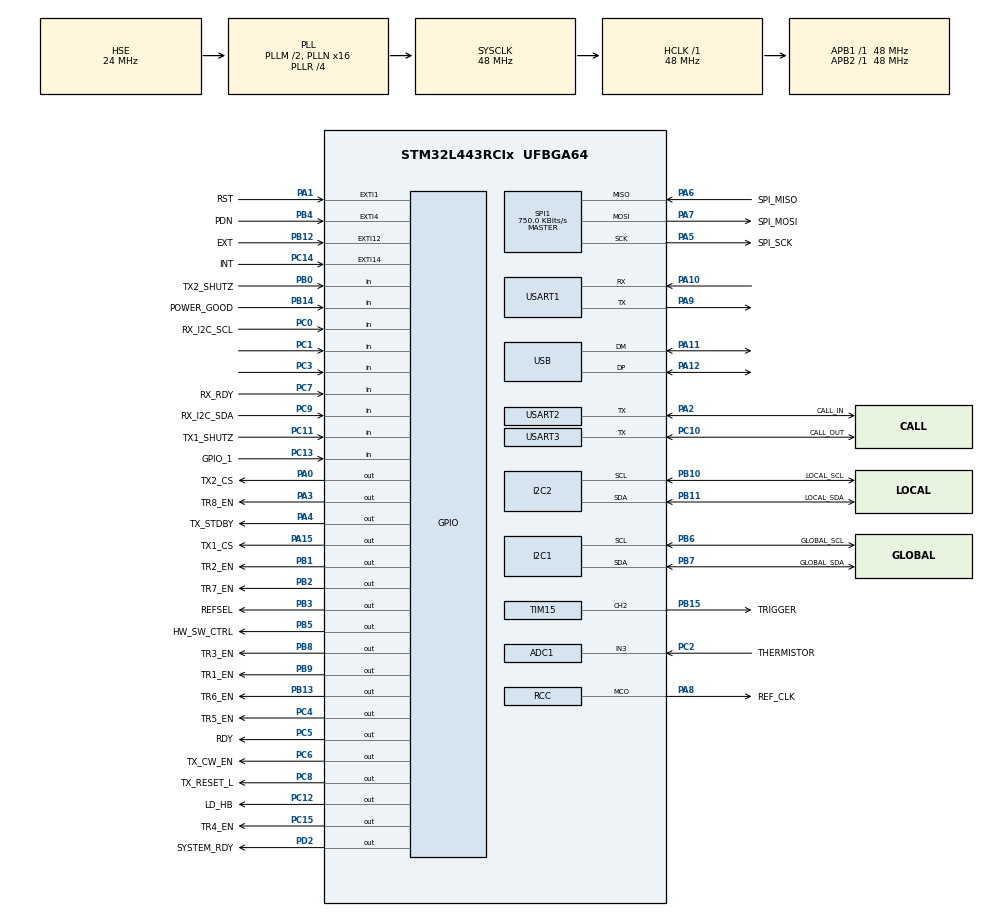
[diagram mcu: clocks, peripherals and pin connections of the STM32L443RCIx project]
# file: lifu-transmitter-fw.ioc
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ADC1.Channel-0\#ChannelRegularConversion=ADC_CHANNEL_3
ADC1.ClockPrescaler=ADC_CLOCK_ASYNC_DIV4
ADC1.ContinuousConvMode=ENABLE
ADC1.EnableAnalogWatchDog2=false
ADC1.LowPowerAutoWait=ENABLE
ADC1.NbrOfConversion=1
ADC1.NbrOfConversionFlag=1
ADC1.OffsetNumber-0\#ChannelRegularConversion=ADC_OFFSET_NONE
ADC1.Overrun=ADC_OVR_DATA_OVERWRITTEN
ADC1.OversamplingMode=DISABLE
ADC1.Rank-0\#ChannelRegularConversion=1
ADC1.SamplingTime-0\#ChannelRegularConversion=ADC_SAMPLETIME_47CYCLES_5
ADC1.master=1
Dma.Request0=USART2_RX
Dma.Request1=USART2_TX
Dma.Request2=USART3_RX
Dma.Request3=USART3_TX
Dma.Request4=USART1_RX
Dma.Request5=USART1_TX
Dma.USART1_RX.4.Direction=DMA_PERIPH_TO_MEMORY
Dma.USART1_RX.4.Instance=DMA1_Channel5
Dma.USART1_RX.4.MemDataAlignment=DMA_MDATAALIGN_BYTE
Dma.USART1_RX.4.MemInc=DMA_MINC_ENABLE
Dma.USART1_RX.4.Mode=DMA_NORMAL
Dma.USART1_RX.4.PeriphDataAlignment=DMA_PDATAALIGN_BYTE
Dma.USART1_RX.4.PeriphInc=DMA_PINC_DISABLE
Dma.USART1_RX.4.Priority=DMA_PRIORITY_LOW
Dma.USART1_TX.5.Direction=DMA_MEMORY_TO_PERIPH
Dma.USART1_TX.5.Instance=DMA1_Channel4
Dma.USART1_TX.5.MemDataAlignment=DMA_MDATAALIGN_BYTE
Dma.USART1_TX.5.MemInc=DMA_MINC_ENABLE
Dma.USART1_TX.5.Mode=DMA_NORMAL
Dma.USART1_TX.5.PeriphDataAlignment=DMA_PDATAALIGN_BYTE
Dma.USART1_TX.5.PeriphInc=DMA_PINC_DISABLE
Dma.USART1_TX.5.Priority=DMA_PRIORITY_LOW
Dma.USART2_RX.0.Direction=DMA_PERIPH_TO_MEMORY
Dma.USART2_RX.0.Instance=DMA1_Channel6
Dma.USART2_RX.0.MemDataAlignment=DMA_MDATAALIGN_BYTE
Dma.USART2_RX.0.MemInc=DMA_MINC_ENABLE
Dma.USART2_RX.0.Mode=DMA_NORMAL
Dma.USART2_RX.0.PeriphDataAlignment=DMA_PDATAALIGN_BYTE
Dma.USART2_RX.0.PeriphInc=DMA_PINC_DISABLE
Dma.USART2_RX.0.Priority=DMA_PRIORITY_LOW
Dma.USART2_TX.1.Direction=DMA_MEMORY_TO_PERIPH
Dma.USART2_TX.1.Instance=DMA1_Channel7
Dma.USART2_TX.1.MemDataAlignment=DMA_MDATAALIGN_BYTE
Dma.USART2_TX.1.MemInc=DMA_MINC_ENABLE
Dma.USART2_TX.1.Mode=DMA_NORMAL
Dma.USART2_TX.1.PeriphDataAlignment=DMA_PDATAALIGN_BYTE
Dma.USART2_TX.1.PeriphInc=DMA_PINC_DISABLE
Dma.USART2_TX.1.Priority=DMA_PRIORITY_LOW
Dma.USART3_RX.2.Direction=DMA_PERIPH_TO_MEMORY
Dma.USART3_RX.2.Instance=DMA1_Channel3
Dma.USART3_RX.2.MemDataAlignment=DMA_MDATAALIGN_BYTE
Dma.USART3_RX.2.MemInc=DMA_MINC_ENABLE
Dma.USART3_RX.2.Mode=DMA_NORMAL
Dma.USART3_RX.2.PeriphDataAlignment=DMA_PDATAALIGN_BYTE
Dma.USART3_RX.2.PeriphInc=DMA_PINC_DISABLE
Dma.USART3_RX.2.Priority=DMA_PRIORITY_LOW
Dma.USART3_TX.3.Direction=DMA_MEMORY_TO_PERIPH
Dma.USART3_TX.3.Instance=DMA1_Channel2
Dma.USART3_TX.3.MemDataAlignment=DMA_MDATAALIGN_BYTE
Dma.USART3_TX.3.MemInc=DMA_MINC_ENABLE
Dma.USART3_TX.3.Mode=DMA_NORMAL
Dma.USART3_TX.3.PeriphDataAlignment=DMA_PDATAALIGN_BYTE
Dma.USART3_TX.3.PeriphInc=DMA_PINC_DISABLE
Dma.USART3_TX.3.Priority=DMA_PRIORITY_LOW
I2C1.Timing=0x10805D88
I2C2.Timing=0x10805D88
IWDG.Prescaler=IWDG_PRESCALER_32
LPTIM1.ClockPrescaler=LPTIM_PRESCALER_DIV16
Mcu.Family=STM32L4
Mcu.Name=STM32L443RCIx
Mcu.Package=UFBGA64
NVIC.ADC1_IRQn=true\:0\:0\:false\:false\:true\:true\:true\:true
NVIC.DMA1_Channel2_IRQn=true\:0\:0\:false\:false\:true\:false\:true\:true
NVIC.DMA1_Channel3_IRQn=true\:0\:0\:false\:false\:true\:false\:true\:true
NVIC.DMA1_Channel4_IRQn=true\:0\:0\:false\:false\:true\:false\:true\:true
NVIC.DMA1_Channel5_IRQn=true\:0\:0\:false\:false\:true\:false\:true\:true
NVIC.DMA1_Channel6_IRQn=true\:0\:0\:false\:false\:true\:false\:true\:true
NVIC.DMA1_Channel7_IRQn=true\:0\:0\:false\:false\:true\:false\:true\:true
NVIC.I2C1_ER_IRQn=true\:0\:0\:false\:false\:true\:true\:true\:true
NVIC.I2C1_EV_IRQn=true\:0\:0\:false\:false\:true\:true\:true\:true
NVIC.I2C2_ER_IRQn=true\:0\:0\:false\:false\:true\:true\:true\:true
NVIC.I2C2_EV_IRQn=true\:0\:0\:false\:false\:true\:true\:true\:true
NVIC.LPTIM1_IRQn=true\:0\:0\:false\:false\:true\:true\:true\:true
NVIC.PriorityGroup=NVIC_PRIORITYGROUP_4
NVIC.SPI1_IRQn=true\:0\:0\:false\:false\:true\:true\:true\:true
NVIC.TIM1_BRK_TIM15_IRQn=true\:3\:0\:true\:false\:true\:true\:true\:true
NVIC.TIM1_CC_IRQn=true\:3\:0\:true\:false\:true\:true\:true\:true
NVIC.TIM1_TRG_COM_IRQn=true\:3\:0\:true\:false\:true\:true\:true\:true
NVIC.TIM1_UP_TIM16_IRQn=true\:3\:0\:true\:false\:true\:false\:true\:true
NVIC.TIM2_IRQn=true\:3\:0\:true\:false\:true\:true\:true\:true
NVIC.TIM6_DAC_IRQn=true\:15\:0\:false\:false\:true\:true\:true\:true
NVIC.TIM7_IRQn=true\:0\:0\:false\:false\:true\:true\:true\:true
NVIC.TimeBase=TIM6_DAC_IRQn
NVIC.TimeBaseIP=TIM6
NVIC.USART1_IRQn=true\:0\:0\:false\:false\:true\:true\:true\:true
NVIC.USART2_IRQn=true\:0\:0\:false\:false\:true\:true\:true\:true
NVIC.USART3_IRQn=true\:0\:0\:false\:false\:true\:true\:true\:true
NVIC.USB_IRQn=true\:0\:0\:false\:false\:true\:true\:true\:true
PA0.GPIO_Label=TX2_CS
PA0.Signal=GPIO_Output
PA1.GPIO_Label=RST
PA1.Signal=GPXTI1
PA10.Mode=Asynchronous
PA10.Signal=USART1_RX
PA11.Mode=Device
PA11.Signal=USB_DM
PA12.Mode=Device
PA12.Signal=USB_DP
PA13\ (JTMS-SWDIO).Mode=Serial_Wire
PA13\ (JTMS-SWDIO).Signal=SYS_JTMS-SWDIO
PA14\ (JTCK-SWCLK).Mode=Serial_Wire
PA14\ (JTCK-SWCLK).Signal=SYS_JTCK-SWCLK
PA15\ (JTDI).GPIO_Label=TX1_CS
PA15\ (JTDI).Signal=GPIO_Output
PA2.GPIO_Label=CALL_IN
PA2.Mode=Half_duplex(single_wire_mode)
PA2.Signal=USART2_TX
PA3.GPIO_Label=TR8_EN
PA3.Signal=GPIO_Output
PA4.GPIO_Label=TX_STDBY
PA4.Signal=GPIO_Output
PA5.GPIO_Label=SPI_SCK
PA5.Mode=Full_Duplex_Master
PA5.Signal=SPI1_SCK
PA6.GPIO_Label=SPI_MISO
PA6.Mode=Full_Duplex_Master
PA6.Signal=SPI1_MISO
PA7.GPIO_Label=SPI_MOSI
PA7.Mode=Full_Duplex_Master
PA7.Signal=SPI1_MOSI
PA8.GPIO_Label=REF_CLK
PA8.GPIO_Speed=GPIO_SPEED_FREQ_VERY_HIGH
PA8.Mode=Clock-out
PA8.Signal=RCC_MCO
PA9.Mode=Asynchronous
PA9.Signal=USART1_TX
PB0.GPIO_Label=TX2_SHUTZ
PB0.Signal=GPIO_Input
PB1.GPIO_Label=TR2_EN
PB1.Signal=GPIO_Output
PB10.GPIO_Label=LOCAL_SCL
PB10.Mode=I2C
PB10.Signal=I2C2_SCL
PB11.GPIO_Label=LOCAL_SDA
PB11.Mode=I2C
PB11.Signal=I2C2_SDA
PB12.GPIO_Label=EXT
PB12.Signal=GPXTI12
PB13.GPIO_Label=TR6_EN
PB13.Signal=GPIO_Output
PB14.GPIO_Label=POWER_GOOD
PB14.Signal=GPIO_Input
PB15.GPIO_Label=TRIGGER
PB15.GPIO_Speed=GPIO_SPEED_FREQ_HIGH
PB15.Signal=S_TIM15_CH2
PB2.GPIO_Label=TR7_EN
PB2.Signal=GPIO_Output
PB3\ (JTDO-TRACESWO).GPIO_Label=REFSEL
PB3\ (JTDO-TRACESWO).Signal=GPIO_Output
PB4\ (NJTRST).GPIO_Label=PDN
PB4\ (NJTRST).Signal=GPXTI4
PB5.GPIO_Label=HW_SW_CTRL
PB5.Signal=GPIO_Output
PB6.GPIO_Label=GLOBAL_SCL
PB6.Mode=I2C
PB6.Signal=I2C1_SCL
PB7.GPIO_Label=GLOBAL_SDA
PB7.Mode=I2C
PB7.Signal=I2C1_SDA
PB8.GPIO_Label=TR3_EN
PB8.Signal=GPIO_Output
PB9.GPIO_Label=TR1_EN
PB9.Signal=GPIO_Output
PC0.GPIO_Label=RX_I2C_SCL
PC0.Signal=GPIO_Input
PC1.Signal=GPIO_Input
PC10.GPIO_Label=CALL_OUT
PC10.Mode=Half_duplex(single_wire_mode)
PC10.Signal=USART3_TX
PC11.GPIO_Label=TX1_SHUTZ
PC11.Signal=GPIO_Input
PC12.GPIO_Label=LD_HB
PC12.Signal=GPIO_Output
PC13.GPIO_Label=GPIO_1
PC13.Signal=GPIO_Input
PC14-OSC32_IN\ (PC14).GPIO_Label=INT
PC14-OSC32_IN\ (PC14).Signal=GPXTI14
PC15-OSC32_OUT\ (PC15).GPIO_Label=TR4_EN
PC15-OSC32_OUT\ (PC15).Signal=GPIO_Output
PC2.GPIO_Label=THERMISTOR
PC2.Signal=ADCx_IN3
PC3.Signal=GPIO_Input
PC4.GPIO_Label=TR5_EN
PC4.Signal=GPIO_Output
PC5.GPIO_Label=RDY
PC5.Signal=GPIO_Output
PC6.GPIO_Label=TX_CW_EN
PC6.Signal=GPIO_Output
PC7.GPIO_Label=RX_RDY
PC7.Signal=GPIO_Input
PC8.GPIO_Label=TX_RESET_L
PC8.Signal=GPIO_Output
PC9.GPIO_Label=RX_I2C_SDA
PC9.Signal=GPIO_Input
PD2.GPIO_Label=SYSTEM_RDY
PD2.Signal=GPIO_Output
PH0-OSC_IN\ (PH0).Mode=HSE-External-Oscillator
PH0-OSC_IN\ (PH0).Signal=RCC_OSC_IN
PH1-OSC_OUT\ (PH1).Mode=HSE-External-Oscillator
PH1-OSC_OUT\ (PH1).Signal=RCC_OSC_OUT
ProjectManager.HeapSize=0x200
ProjectManager.StackSize=0x400
ProjectManager.TargetToolchain=CMake
RCC.ADCFreq_Value=48000000
RCC.AHBFreq_Value=48000000
RCC.APB1Freq_Value=48000000
RCC.APB1TimFreq_Value=48000000
RCC.APB2Freq_Value=48000000
RCC.APB2TimFreq_Value=48000000
RCC.CK48CLockSelection=RCC_USBCLKSOURCE_HSI48
RCC.CortexFreq_Value=48000000
RCC.HCLKFreq_Value=48000000
RCC.HSE_VALUE=24000000
RCC.HSI48_VALUE=48000000
RCC.HSI_VALUE=16000000
RCC.LSE_VALUE=32768
RCC.MSI_VALUE=4000000
RCC.PLLM=2
RCC.PLLN=16
RCC.PLLQ=RCC_PLLQ_DIV4
RCC.PLLR=RCC_PLLR_DIV4
RCC.PLLSourceVirtual=RCC_PLLSOURCE_HSE
RCC.RCC_MCO1Source=RCC_MCO1SOURCE_MSI
RCC.RCC_MCODiv=RCC_MCODIV_2
RCC.SYSCLKFreq_VALUE=48000000
RCC.SYSCLKSource=RCC_SYSCLKSOURCE_PLLCLK
RCC.USBFreq_Value=48000000
RCC.VCOOutputFreq_Value=192000000
SH.ADCx_IN3.0=ADC1_IN3,IN3-Single-Ended
SH.S_TIM15_CH2.0=TIM15_CH2,PWM Generation2 CH2
SPI1.BaudRatePrescaler=SPI_BAUDRATEPRESCALER_64
SPI1.CalculateBaudRate=750.0 KBits/s
SPI1.DataSize=SPI_DATASIZE_8BIT
SPI1.Direction=SPI_DIRECTION_2LINES
SPI1.Mode=SPI_MODE_MASTER
SPI1.VirtualType=VM_MASTER
TIM1.AutoReloadPreload=TIM_AUTORELOAD_PRELOAD_ENABLE
TIM1.Channel-PWM\ Generation1\ CH1=TIM_CHANNEL_1
TIM1.Period=1000-1
TIM1.Prescaler=48-1
TIM1.Pulse-PWM\ Generation1\ CH1=12
TIM1.TIM_MasterOutputTrigger=TIM_TRGO_UPDATE
TIM1.TIM_MasterOutputTrigger2=TIM_TRGO2_UPDATE
TIM1.TIM_MasterSlaveMode=TIM_MASTERSLAVEMODE_ENABLE
TIM15.Channel-PWM\ Generation2\ CH2=TIM_CHANNEL_2
TIM15.OCPolarity_2=TIM_OCPOLARITY_LOW
TIM15.Period=1000-1
TIM15.Prescaler=48-1
TIM15.Pulse-PWM\ Generation2\ CH2=1000
TIM16.Period=5000-1
TIM16.Prescaler=4800-1
TIM2.Period=1000-1
TIM2.Prescaler=48-1
TIM7.Period=1000-1
TIM7.Prescaler=4800-1
USART1.VirtualMode-Asynchronous=VM_ASYNC
USART2.VirtualMode-Half_duplex(single_wire_mode)=VM_ASYNC
USART3.VirtualMode-Half_duplex(single_wire_mode)=VM_ASYNC
USB_DEVICE.CLASS_NAME_FS=CDC
USB_DEVICE.PID_CDC_FS=0x57AF
USB_DEVICE.VID=0x483
USB_DEVICE.VirtualMode=Cdc
USB_DEVICE.VirtualModeFS=Cdc_FS
VP_CRC_VS_CRC.Mode=CRC_Activate
VP_IWDG_VS_IWDG.Mode=IWDG_Activate
VP_LPTIM1_VS_LPTIM_counterModeInternalClock.Mode=Counts__internal_clock_event_00
VP_LPTIM2_VS_LPTIM_counterModeInternalClock.Mode=Counts__internal_clock_event_00
VP_RTC_VS_RTC_Activate.Mode=RTC_Enabled
VP_SYS_VS_tim6.Mode=TIM6
VP_TIM15_VS_ClockSourceINT.Mode=Internal
VP_TIM15_VS_ClockSourceITR.Mode=TriggerSource_ITR0
VP_TIM15_VS_ControllerModeTrigger.Mode=Trigger Mode
VP_TIM15_VS_OPM.Mode=OPM_bit
VP_TIM16_VS_ClockSourceINT.Mode=Enable_Timer
VP_TIM1_VS_ClockSourceINT.Mode=Internal
VP_TIM2_VS_ClockSourceINT.Mode=Internal
VP_TIM7_VS_ClockSourceINT.Mode=Enable_Timer
VP_USB_DEVICE_VS_USB_DEVICE_CDC_FS.Mode=CDC_FS
board=custom

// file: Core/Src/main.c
/* USER CODE BEGIN Header */
/**
 ******************************************************************************
 * @file           : main.c
 * @brief          : Main program body
 ******************************************************************************
 * @attention
 *
 * Copyright (c) 2025 STMicroelectronics.
 * All rights reserved.
 *
 * This software is licensed under terms that can be found in the LICENSE file
 * in the root directory of this software component.
 * If no LICENSE file comes with this software, it is provided AS-IS.
 *
 ******************************************************************************
 */
/* USER CODE END Header */
#include "main.h"
#include "usb_device.h"

/* USER CODE BEGIN Includes */
#include "i2c_master.h"
#include "config_CDCE6214_10MHZ_ZDM.h"

#include "tx7332.h"
#include "usbd_cdc_if.h"
#include "uart_comms.h"
#include "module_manager.h"
#include "lifu_config.h"
#include "trigger.h"
#include "i2c_slave.h"
#include "thermistor.h"

#ifdef DEBUG_ENABLED
#include "logging.h"
#endif

#include "utils.h"
#include <stdio.h>
#include <stdbool.h>
#include <string.h>

/* USER CODE END Includes */

/* USER CODE BEGIN PD */
#define TOGGLE_INTERVAL 500       // Toggle every 500ms
#define TEMPERATURE_INTERVAL 1000 // Toggle every 1000ms
#define DEBOUNCE_DELAY_MS 10

#define BL_BKP_SIGNATURE (0x4F57424CU)     /* 'OWBL' */
#define BL_BKP_REQ_DFU_MAGIC (0x21554644U) /* 'DFU!' */

/* STM32L4 system-memory (ROM) bootloader entry point */
#define STM32_SYS_BL_ADDR   (0x1FFF0000U)
/* Our custom bootloader occupies 0x08000000..0x0800FFFF (62 KB) */
#define CUSTOM_BL_START     (0x08000000U)
#define CUSTOM_BL_END       (0x08010000U)

/**
 * @brief Return true if our custom bootloader is programmed.
 *        Inspects the reset-handler vector stored at 0x08000004; if it
 *        falls inside the custom BL flash region a BL is present.
 */
static bool is_custom_bootloader_present(void)
{
  uint32_t reset_handler = *(volatile uint32_t *)(CUSTOM_BL_START + 4U);
  return (reset_handler >= CUSTOM_BL_START && reset_handler < CUSTOM_BL_END);
}

static void bl_bkp_enable(void)
{
  __HAL_RCC_PWR_CLK_ENABLE();
  HAL_PWR_EnableBkUpAccess();

  if ((RCC->BDCR & RCC_BDCR_RTCEN) == 0U)
  {
    if ((RCC->BDCR & RCC_BDCR_RTCSEL) == 0U)
    {
      /* RTCSEL=10b -> LSI (RCC_BDCR_RTCSEL_1) */
      MODIFY_REG(RCC->BDCR, RCC_BDCR_RTCSEL, RCC_BDCR_RTCSEL_1);
    }
    SET_BIT(RCC->BDCR, RCC_BDCR_RTCEN);
  }
}

void bootloader_mark_boot_ok(void)
{
  bl_bkp_enable();
  RTC->BKP0R = BL_BKP_SIGNATURE;
  RTC->BKP2R = 0U; /* clears in-progress/force bits + failure count */
  RTC->BKP3R = 0U; /* clears last-bad-fw marker */
  __DSB();
  __ISB();
}

/* USER CODE END PD */

ADC_HandleTypeDef hadc1;

CRC_HandleTypeDef hcrc;

I2C_HandleTypeDef hi2c1;
I2C_HandleTypeDef hi2c2;

IWDG_HandleTypeDef hiwdg;

LPTIM_HandleTypeDef hlptim1;
LPTIM_HandleTypeDef hlptim2;

RTC_HandleTypeDef hrtc;

SPI_HandleTypeDef hspi1;

TIM_HandleTypeDef htim1;
TIM_HandleTypeDef htim2;
TIM_HandleTypeDef htim7;
TIM_HandleTypeDef htim15;
TIM_HandleTypeDef htim16;

UART_HandleTypeDef huart1;
UART_HandleTypeDef huart2;
UART_HandleTypeDef huart3;
DMA_HandleTypeDef hdma_usart1_rx;
DMA_HandleTypeDef hdma_usart1_tx;
DMA_HandleTypeDef hdma_usart2_rx;
DMA_HandleTypeDef hdma_usart2_tx;
DMA_HandleTypeDef hdma_usart3_rx;
DMA_HandleTypeDef hdma_usart3_tx;

/* USER CODE BEGIN PV */

uint32_t id_words[3] = {0};

// Define the pointers
I2C_HandleTypeDef *GLOBAL_I2C_DEVICE = NULL;
I2C_HandleTypeDef *LOCAL_I2C_DEVICE = NULL;

volatile bool _enter_dfu = false;
volatile bool _force_stm32_dfu = false; // for testing purposes, forces to enter STM32 system bootloader instead of custom DFU mode
volatile bool _usb_interrupt_flag = false;
TX7332 transmitters[TX_PER_MODULE];

static lifu_cfg_t *cfg;
/* USER CODE END PV */

void SystemClock_Config(void);
static void MX_GPIO_Init(void);
static void MX_DMA_Init(void);
static void MX_USART2_UART_Init(void);
static void MX_USART3_UART_Init(void);
static void MX_ADC1_Init(void);
static void MX_CRC_Init(void);
static void MX_I2C1_Init(void);
static void MX_I2C2_Init(void);
static void MX_RTC_Init(void);
static void MX_SPI1_Init(void);
static void MX_TIM1_Init(void);
static void MX_TIM2_Init(void);
static void MX_TIM7_Init(void);
static void MX_TIM15_Init(void);
static void MX_USART1_UART_Init(void);
static void MX_LPTIM1_Init(void);
static void MX_LPTIM2_Init(void);
static void MX_TIM16_Init(void);
static void MX_IWDG_Init(void);

/* USER CODE BEGIN 0 */
void SetPinsHighImpedance(void)
{
  GPIO_InitTypeDef GPIO_InitStruct = {0};

  // De-initialize the REF_SEL pin
  HAL_GPIO_DeInit(REFSEL_GPIO_Port, REFSEL_Pin);

  // Configure REF_SEL pin to high impedance (input mode, no pull-up, no pull-down)
  GPIO_InitStruct.Pin = REFSEL_Pin;
  GPIO_InitStruct.Mode = GPIO_MODE_INPUT;
  GPIO_InitStruct.Pull = GPIO_NOPULL;
  HAL_GPIO_Init(REFSEL_GPIO_Port, &GPIO_InitStruct);

  // De-initialize the HW_SW_CTRL pin
  HAL_GPIO_DeInit(HW_SW_CTRL_GPIO_Port, HW_SW_CTRL_Pin);

  // Configure HW_SW_CTRL pin to high impedance (input mode, no pull-up, no pull-down)
  GPIO_InitStruct.Pin = HW_SW_CTRL_Pin;
  GPIO_InitStruct.Mode = GPIO_MODE_INPUT;
  GPIO_InitStruct.Pull = GPIO_NOPULL;
  HAL_GPIO_Init(HW_SW_CTRL_GPIO_Port, &GPIO_InitStruct);

  // De-initialize the TRIGGER pin
  HAL_GPIO_DeInit(TRIGGER_GPIO_Port, TRIGGER_Pin);

  // Configure TRIGGER pin to high impedance (input mode, no pull-up, no pull-down)
  GPIO_InitStruct.Pin = TRIGGER_Pin;
  GPIO_InitStruct.Mode = GPIO_MODE_INPUT;
  GPIO_InitStruct.Pull = GPIO_NOPULL;
  HAL_GPIO_Init(TRIGGER_GPIO_Port, &GPIO_InitStruct);

  // De-initialize the the 2MHz reference signal pin
  HAL_GPIO_DeInit(REF_CLK_GPIO_Port, REF_CLK_Pin);

  // Configure 2MHz pin to high impedance (input mode, no pull-up, no pull-down)
  GPIO_InitStruct.Pin = REF_CLK_Pin;
  GPIO_InitStruct.Mode = GPIO_MODE_INPUT;
  GPIO_InitStruct.Pull = GPIO_NOPULL;
  HAL_GPIO_Init(REF_CLK_GPIO_Port, &GPIO_InitStruct);

  // De-initialize the INT pin
  HAL_GPIO_DeInit(INT_GPIO_Port, INT_Pin);

  // Configure INT pin to high impedance (input mode, no pull-up, no pull-down)
  GPIO_InitStruct.Pin = INT_Pin;
  GPIO_InitStruct.Mode = GPIO_MODE_INPUT;
  GPIO_InitStruct.Pull = GPIO_NOPULL;
  HAL_GPIO_Init(INT_GPIO_Port, &GPIO_InitStruct);

  // De-initialize the ESTOP pin
  HAL_GPIO_DeInit(EXT_GPIO_Port, EXT_Pin);

  // Configure INT pin to high impedance (input mode, no pull-up, no pull-down)
  GPIO_InitStruct.Pin = EXT_Pin;
  GPIO_InitStruct.Mode = GPIO_MODE_INPUT;
  GPIO_InitStruct.Pull = GPIO_NOPULL;
  HAL_GPIO_Init(EXT_GPIO_Port, &GPIO_InitStruct);
}

static void Setup_Reference_Clock()
{

  GPIO_InitTypeDef GPIO_InitStruct = {0};

  HAL_RCC_MCOConfig(RCC_MCO1, RCC_MCO1SOURCE_MSI, RCC_MCODIV_2);
  HAL_RCCEx_EnableMSIPLLMode();

  HAL_Delay(1);

  GPIO_InitStruct.Pin = REF_CLK_Pin;
  GPIO_InitStruct.Mode = GPIO_MODE_AF_PP;
  GPIO_InitStruct.Pull = GPIO_NOPULL;
  GPIO_InitStruct.Speed = GPIO_SPEED_FREQ_VERY_HIGH;
  GPIO_InitStruct.Alternate = GPIO_AF0_MCO;
  HAL_GPIO_Init(REF_CLK_GPIO_Port, &GPIO_InitStruct);
}

bool AreAllSlavesReady(void)
{
  return HAL_GPIO_ReadPin(RST_GPIO_Port, RST_Pin) == GPIO_PIN_SET;
}

void WaitForAllSlavesReady(void)
{
  while (!AreAllSlavesReady())
  {
    FW_DEBUG("Waiting for all slaves to be ready...\r\n");
    HAL_Delay(100); // Delay for stability
  }

  FW_DEBUG("All slaves are ready!\r\n");
}

void SetSlaveReadyState(bool ready)
{
  if (ready)
  {
    HAL_GPIO_WritePin(RST_GPIO_Port, RST_Pin, GPIO_PIN_SET); // Hi-Z (Ready)
  }
  else
  {
    HAL_GPIO_WritePin(RST_GPIO_Port, RST_Pin, GPIO_PIN_RESET); // Drive LOW (Not Ready)
  }
}

void ConfigureResetPin(bool master)
{
  GPIO_InitTypeDef GPIO_InitStruct = {0};
  // De-initialize the REF_SEL pin
  HAL_GPIO_DeInit(RST_GPIO_Port, RST_Pin);

  if (master)
  {
    // Configure PA9 as INPUT with Pull-up
    GPIO_InitStruct.Pin = RST_Pin;
    GPIO_InitStruct.Mode = GPIO_MODE_INPUT;
    GPIO_InitStruct.Pull = GPIO_PULLUP;
    HAL_GPIO_Init(RST_GPIO_Port, &GPIO_InitStruct);
  }
  else
  {
    // Configure PA9 as open-drain output (Hi-Z when ready)
    GPIO_InitStruct.Pin = RST_Pin;
    GPIO_InitStruct.Mode = GPIO_MODE_OUTPUT_OD;
    GPIO_InitStruct.Pull = GPIO_NOPULL; // No internal pull-up
    HAL_GPIO_Init(RST_GPIO_Port, &GPIO_InitStruct);
    SetSlaveReadyState(false);
  }
}

void ConfigureHIzPin(GPIO_TypeDef *GPIOx, uint16_t GPIO_Pin)
{
  GPIO_InitTypeDef GPIO_InitStruct = {0};
  // De-initialize the REF_SEL pin
  HAL_GPIO_DeInit(GPIOx, GPIO_Pin);

  // Configure as input with no pull-up/down (Hi-Z)
  GPIO_InitStruct.Pin = GPIO_Pin;
  GPIO_InitStruct.Mode = GPIO_MODE_INPUT;
  GPIO_InitStruct.Pull = GPIO_NOPULL;
  HAL_GPIO_Init(GPIOx, &GPIO_InitStruct);
}

static bool ConfigureClock()
{
  int count = 0;
  uint16_t v = 0;

  // reset
  HAL_GPIO_WritePin(PDN_GPIO_Port, PDN_Pin, GPIO_PIN_RESET);
  HAL_Delay(250);
  HAL_GPIO_WritePin(PDN_GPIO_Port, PDN_Pin, GPIO_PIN_SET);
  HAL_Delay(25);
  // I2C_write_CDCE6214_reg(0x67, 0x000F, 0x5020); // unlock eeprom
  HAL_Delay(25);

  // printf("Configuring Clock chip\r\n");
  // Calculate the number of elements in the array
  // blur6214_64mhz_values
  size_t num_elements = sizeof(cdce6214_v6_10mhz_values) / sizeof(uint32_t);

  // Iterate through the array and split each uint32_t value into two uint16_t values
  for (size_t i = 0; i < num_elements; i++)
  {
    uint32_t value = cdce6214_v6_10mhz_values[i];

    // Split the value into upper and lower words
    uint16_t reg_addr = (uint16_t)(value >> 16); // Upper word is reg_addr
    uint16_t reg_value = (uint16_t)value;        // Lower word is reg_value

    // Print the split values
    if (!I2C_write_CDCE6214_reg(0x67, reg_addr, reg_value))
    {
      // printf("failed Index %zu: reg_addr = 0x%04X, reg_value = 0x%04X\r\n", i, reg_addr, reg_value);
      return false;
    }
    HAL_Delay(1);
  }

  I2C_write_CDCE6214_reg(0x67, 0x0000, 0x1130); // calibrate
  HAL_Delay(1);
  I2C_write_CDCE6214_reg(0x67, 0x0000, 0x1120); // calibrate

  for (count = 0; count < 10; count++)
  { // check for lock
    HAL_Delay(50);
    v = I2C_read_CDCE6214_reg(0x67, 0x0007);
    if ((v & 0x01) == 0x01)
    {
      HAL_GPIO_WritePin(SYSTEM_RDY_GPIO_Port, SYSTEM_RDY_Pin, GPIO_PIN_RESET);
      break;
    }
  }

  return true;
}

static void Detect_MAX31875_Bus(void)
{
  uint8_t dummy = 0;

  // Try hi2c1 first
  if (HAL_I2C_Master_Transmit(&hi2c1, MAX31875_ADDRESS << 1, &dummy, 0, 100) == HAL_OK ||
      HAL_I2C_IsDeviceReady(&hi2c1, MAX31875_ADDRESS << 1, 1, 100) == HAL_OK)
  {
    LOCAL_I2C_DEVICE = &hi2c1;
    GLOBAL_I2C_DEVICE = &hi2c2;
  }
  else if (HAL_I2C_Master_Transmit(&hi2c2, MAX31875_ADDRESS << 1, &dummy, 0, 100) == HAL_OK ||
           HAL_I2C_IsDeviceReady(&hi2c2, MAX31875_ADDRESS << 1, 1, 100) == HAL_OK)
  {
    LOCAL_I2C_DEVICE = &hi2c2;
    GLOBAL_I2C_DEVICE = &hi2c1;
  }
  else
  {
    // Could not detect MAX31875 on either bus
    Error_Handler();
  }
}
/* USER CODE END 0 */

int main(void)
{

  /* USER CODE BEGIN 1 */

  uint32_t last_led_toggle_time = HAL_GetTick(); // Store the initial time
  uint32_t last_temp_toggle_time = HAL_GetTick();
  uint32_t current_time = 0;

  /* USER CODE END 1 */

  /* MCU Configuration--------------------------------------------------------*/

  /* Reset of all peripherals, Initializes the Flash interface and the Systick. */
  HAL_Init();

  /* Configure the system clock */
  SystemClock_Config();

  /* Initialize all configured peripherals */
  MX_GPIO_Init();
  MX_DMA_Init();
  MX_USART2_UART_Init();
  MX_USART3_UART_Init();
  MX_ADC1_Init();
  MX_CRC_Init();
  MX_I2C1_Init();
  MX_I2C2_Init();
  MX_RTC_Init();
  MX_SPI1_Init();
  MX_TIM1_Init();
  MX_TIM2_Init();
  MX_TIM7_Init();
  MX_TIM15_Init();
  MX_USART1_UART_Init();
  MX_LPTIM1_Init();
  MX_LPTIM2_Init();
  MX_TIM16_Init();
  MX_IWDG_Init();
  /* USER CODE BEGIN 2 */
  if (HAL_IWDG_Refresh(&hiwdg) != HAL_OK)
  {
    /* Refresh Error */
    Error_Handler();
  }
  HAL_TIM_Base_Start_IT(&htim16);
#ifdef DEBUG_ENABLED
  init_dma_logging();
#endif
  bootloader_mark_boot_ok();
  printf("\033c");
  printf("LIFU Transmitter Firmware\r\n");
  printf("VER: %s (%s)\r\n", FW_VERSION_STRING, FW_SHA_STRING);
  printf("Date: %s\r\n", FW_BUILD_TIME_STRING);

  FW_DEBUG("Initializing peripherals\r\n");
  SetPinsHighImpedance();
  FW_DEBUG("Pins set to high impedance\r\n");

  // setup default
  deinit_trigger();

  cfg = (lifu_cfg_t *)lifu_cfg_get();
  FW_DEBUG("LIFU config loaded\r\n");

  HAL_GPIO_WritePin(SYSTEM_RDY_GPIO_Port, SYSTEM_RDY_Pin, GPIO_PIN_SET);

  HAL_Delay(250); // wait for role to be set if connected to usb

  // Initialize thermistor library
  Thermistor_Start(&hadc1, 2.5f, 10000.0f);
  FW_DEBUG("Thermistor started\r\n");
  HAL_Delay(5);

  // I2C_scan();
  Detect_MAX31875_Bus();
  FW_DEBUG("MAX31875 bus detected\r\n");
  HAL_Delay(5);

  // Initializing TX7332
  HAL_GPIO_WritePin(GPIOC, TX_RESET_L_Pin | TX_CW_EN_Pin, GPIO_PIN_RESET);
  HAL_GPIO_WritePin(TX_STDBY_GPIO_Port, TX_STDBY_Pin, GPIO_PIN_RESET);
  HAL_GPIO_WritePin(TR1_EN_GPIO_Port, TR1_EN_Pin, GPIO_PIN_RESET);
  HAL_GPIO_WritePin(TR2_EN_GPIO_Port, TR2_EN_Pin, GPIO_PIN_RESET);
  HAL_GPIO_WritePin(TR3_EN_GPIO_Port, TR3_EN_Pin, GPIO_PIN_RESET);
  HAL_GPIO_WritePin(TR4_EN_GPIO_Port, TR4_EN_Pin, GPIO_PIN_RESET);
  HAL_GPIO_WritePin(TR5_EN_GPIO_Port, TR5_EN_Pin, GPIO_PIN_RESET);
  HAL_GPIO_WritePin(TR6_EN_GPIO_Port, TR6_EN_Pin, GPIO_PIN_RESET);
  HAL_GPIO_WritePin(TR7_EN_GPIO_Port, TR7_EN_Pin, GPIO_PIN_RESET);
  HAL_GPIO_WritePin(TR8_EN_GPIO_Port, TR8_EN_Pin, GPIO_PIN_RESET);
  HAL_GPIO_WritePin(GPIOA, TX1_CS_Pin | TX2_CS_Pin, GPIO_PIN_RESET); // TODO: Verify initial state

  // reset TX7332
  TX7332_Reset();
  FW_DEBUG("TX7332 reset complete\r\n");
  HAL_Delay(25);

  // configure CS for TX7332
  TX7332_Init(&transmitters[0], TX1_CS_GPIO_Port, TX1_CS_Pin);
  TX7332_Init(&transmitters[1], TX2_CS_GPIO_Port, TX2_CS_Pin);
  FW_DEBUG("TX7332 initialized (2 tx chips)\r\n");
  HAL_Delay(50);

  HAL_GPIO_WritePin(TX_CW_EN_GPIO_Port, TX_CW_EN_Pin, GPIO_PIN_RESET);
  HAL_GPIO_WritePin(TR1_EN_GPIO_Port, TR1_EN_Pin, GPIO_PIN_SET);
  HAL_GPIO_WritePin(TR2_EN_GPIO_Port, TR2_EN_Pin, GPIO_PIN_SET);
  HAL_GPIO_WritePin(TR3_EN_GPIO_Port, TR3_EN_Pin, GPIO_PIN_SET);
  HAL_GPIO_WritePin(TR4_EN_GPIO_Port, TR4_EN_Pin, GPIO_PIN_SET);
  HAL_GPIO_WritePin(TR5_EN_GPIO_Port, TR5_EN_Pin, GPIO_PIN_SET);
  HAL_GPIO_WritePin(TR6_EN_GPIO_Port, TR6_EN_Pin, GPIO_PIN_SET);
  HAL_GPIO_WritePin(TR7_EN_GPIO_Port, TR7_EN_Pin, GPIO_PIN_SET);
  HAL_GPIO_WritePin(TR8_EN_GPIO_Port, TR8_EN_Pin, GPIO_PIN_SET);
  HAL_Delay(50);
  MX_USB_DEVICE_Init();

  HAL_Delay(500);

  // system entering ready state
  HAL_GPIO_WritePin(SYSTEM_RDY_GPIO_Port, SYSTEM_RDY_Pin, GPIO_PIN_RESET);

  /* USER CODE END 2 */

  /* Infinite loop */
  while (1)
  {

    /* USER CODE BEGIN 3 */
    current_time = HAL_GetTick(); // Get current time

    if (!get_configured())
    {
      // start listen
      if (get_device_role() == ROLE_MASTER)
      {
        FW_DEBUG("Role: MASTER - starting configuration\r\n");
        OW_TimerData timerDataConfig;

        ConfigureResetPin(true);
        configure_master();

        timerDataConfig.TriggerFrequencyHz = 10;
        timerDataConfig.TriggerPulseWidthUsec = 2000;
        timerDataConfig.TriggerPulseCount = 5; // no pulse count
        timerDataConfig.TriggerPulseTrainCount = 2;
        timerDataConfig.TriggerPulseTrainInterval = 0;
        timerDataConfig.TriggerMode = TRIGGER_MODE_CONTINUOUS; // TRIGGER_MODE_SEQUENCE TRIGGER_MODE_CONTINUOUS TRIGGER_MODE_SINGLE
        timerDataConfig.ProfileIncrement = 0;
        timerDataConfig.ProfileIndex = 0;
        init_trigger_pulse(timerDataConfig);

        // 2MHz REF CLK
        Setup_Reference_Clock();
        // reset clock chip
        HAL_GPIO_WritePin(PDN_GPIO_Port, PDN_Pin, GPIO_PIN_SET);
        HAL_Delay(10);

        // clock chip setup
        ConfigureClock();
        FW_DEBUG("Master clock configured\r\n");
      }
      else
      {
        FW_DEBUG("Role: SLAVE — starting configuration\r\n");
        ConfigureHIzPin(TRIGGER_GPIO_Port, TRIGGER_Pin);
        ConfigureResetPin(false);
        configure_slave();
        SetSlaveReadyState(true);
        FW_DEBUG("Slave ready state set\r\n");
      }

      HAL_Delay(100);

      if (get_device_role() == ROLE_MASTER)
      {
        WaitForAllSlavesReady();
        FW_DEBUG("All slaves ready\r\n");
        enumerate_slaves();
        FW_DEBUG("Slaves enumerated\r\n");
        set_configured(true);
        HAL_Delay(1);
        I2C_scan_global();
        FW_DEBUG("Starting host comms\r\n");
        comms_host_start();
      }
      else
      {
        while (!get_configured() && !_usb_interrupt_flag)
        {
          comms_onewire_check_received();
          uint8_t my_slave_address = get_slave_addres();
          if (my_slave_address >= 0x20)
          {
            HAL_GPIO_WritePin(PDN_GPIO_Port, PDN_Pin, GPIO_PIN_SET);
            I2C_Slave_Init(my_slave_address);
            HAL_Delay(5);
            ConfigureClock();
          }
          HAL_Delay(1);
        }
        if (_usb_interrupt_flag)
        {
          _usb_interrupt_flag = false;
        }
      }
    }
    else
    {
      if (get_device_role() == ROLE_MASTER)
      {
        comms_host_check_received(); // check comms
      }
      else
      {
        comms_onewire_check_received();
        I2C_Process();
      }
    }

    if ((current_time - last_led_toggle_time) >= TOGGLE_INTERVAL)
    {
      HAL_GPIO_TogglePin(LD_HB_GPIO_Port, LD_HB_Pin);
      last_led_toggle_time = current_time; // Update the last toggle time
    }

    if ((current_time - last_temp_toggle_time) >= TEMPERATURE_INTERVAL)
    {
      tx_temperature = Thermistor_ReadTemperature();
      ambient_temperature = MAX31875_ReadTemperature();
      last_temp_toggle_time = current_time; // Update the last toggle time
    }
  }
  /* USER CODE END 3 */
}

void SystemClock_Config(void)
{
  RCC_OscInitTypeDef RCC_OscInitStruct = {0};
  RCC_ClkInitTypeDef RCC_ClkInitStruct = {0};

  /** Configure the main internal regulator output voltage
   */
  if (HAL_PWREx_ControlVoltageScaling(PWR_REGULATOR_VOLTAGE_SCALE1) != HAL_OK)
  {
    Error_Handler();
  }

  /** Initializes the RCC Oscillators according to the specified parameters
   * in the RCC_OscInitTypeDef structure.
   */
  RCC_OscInitStruct.OscillatorType = RCC_OSCILLATORTYPE_HSI48 | RCC_OSCILLATORTYPE_LSI | RCC_OSCILLATORTYPE_HSE | RCC_OSCILLATORTYPE_MSI;
  RCC_OscInitStruct.HSEState = RCC_HSE_ON;
  RCC_OscInitStruct.HSI48State = RCC_HSI48_ON;
  RCC_OscInitStruct.LSIState = RCC_LSI_ON;
  RCC_OscInitStruct.MSIState = RCC_MSI_ON;
  RCC_OscInitStruct.MSICalibrationValue = 0;
  RCC_OscInitStruct.MSIClockRange = RCC_MSIRANGE_6;
  RCC_OscInitStruct.PLL.PLLState = RCC_PLL_ON;
  RCC_OscInitStruct.PLL.PLLSource = RCC_PLLSOURCE_HSE;
  RCC_OscInitStruct.PLL.PLLM = 2;
  RCC_OscInitStruct.PLL.PLLN = 16;
  RCC_OscInitStruct.PLL.PLLP = RCC_PLLP_DIV7;
  RCC_OscInitStruct.PLL.PLLQ = RCC_PLLQ_DIV4;
  RCC_OscInitStruct.PLL.PLLR = RCC_PLLR_DIV4;
  if (HAL_RCC_OscConfig(&RCC_OscInitStruct) != HAL_OK)
  {
    Error_Handler();
  }

  /** Initializes the CPU, AHB and APB buses clocks
   */
  RCC_ClkInitStruct.ClockType = RCC_CLOCKTYPE_HCLK | RCC_CLOCKTYPE_SYSCLK | RCC_CLOCKTYPE_PCLK1 | RCC_CLOCKTYPE_PCLK2;
  RCC_ClkInitStruct.SYSCLKSource = RCC_SYSCLKSOURCE_PLLCLK;
  RCC_ClkInitStruct.AHBCLKDivider = RCC_SYSCLK_DIV1;
  RCC_ClkInitStruct.APB1CLKDivider = RCC_HCLK_DIV1;
  RCC_ClkInitStruct.APB2CLKDivider = RCC_HCLK_DIV1;

  if (HAL_RCC_ClockConfig(&RCC_ClkInitStruct, FLASH_LATENCY_2) != HAL_OK)
  {
    Error_Handler();
  }
  HAL_RCC_MCOConfig(RCC_MCO1, RCC_MCO1SOURCE_MSI, RCC_MCODIV_2);
}

static void MX_ADC1_Init(void)
{

  ADC_ChannelConfTypeDef sConfig = {0};

  /** Common config
   */
  hadc1.Instance = ADC1;
  hadc1.Init.ClockPrescaler = ADC_CLOCK_ASYNC_DIV4;
  hadc1.Init.Resolution = ADC_RESOLUTION_12B;
  hadc1.Init.DataAlign = ADC_DATAALIGN_RIGHT;
  hadc1.Init.ScanConvMode = ADC_SCAN_DISABLE;
  hadc1.Init.EOCSelection = ADC_EOC_SINGLE_CONV;
  hadc1.Init.LowPowerAutoWait = ENABLE;
  hadc1.Init.ContinuousConvMode = ENABLE;
  hadc1.Init.NbrOfConversion = 1;
  hadc1.Init.DiscontinuousConvMode = DISABLE;
  hadc1.Init.ExternalTrigConv = ADC_SOFTWARE_START;
  hadc1.Init.ExternalTrigConvEdge = ADC_EXTERNALTRIGCONVEDGE_NONE;
  hadc1.Init.DMAContinuousRequests = DISABLE;
  hadc1.Init.Overrun = ADC_OVR_DATA_OVERWRITTEN;
  hadc1.Init.OversamplingMode = DISABLE;
  if (HAL_ADC_Init(&hadc1) != HAL_OK)
  {
    Error_Handler();
  }

  /** Configure Regular Channel
   */
  sConfig.Channel = ADC_CHANNEL_3;
  sConfig.Rank = ADC_REGULAR_RANK_1;
  sConfig.SamplingTime = ADC_SAMPLETIME_47CYCLES_5;
  sConfig.SingleDiff = ADC_SINGLE_ENDED;
  sConfig.OffsetNumber = ADC_OFFSET_NONE;
  sConfig.Offset = 0;
  if (HAL_ADC_ConfigChannel(&hadc1, &sConfig) != HAL_OK)
  {
    Error_Handler();
  }
  /* USER CODE BEGIN ADC1_Init 2 */

  HAL_ADCEx_Calibration_Start(&hadc1, ADC_SINGLE_ENDED);
  /* USER CODE END ADC1_Init 2 */
}

static void MX_CRC_Init(void)
{

  hcrc.Instance = CRC;
  hcrc.Init.DefaultPolynomialUse = DEFAULT_POLYNOMIAL_ENABLE;
  hcrc.Init.DefaultInitValueUse = DEFAULT_INIT_VALUE_ENABLE;
  hcrc.Init.InputDataInversionMode = CRC_INPUTDATA_INVERSION_NONE;
  hcrc.Init.OutputDataInversionMode = CRC_OUTPUTDATA_INVERSION_DISABLE;
  hcrc.InputDataFormat = CRC_INPUTDATA_FORMAT_BYTES;
  if (HAL_CRC_Init(&hcrc) != HAL_OK)
  {
    Error_Handler();
  }
}

static void MX_I2C1_Init(void)
{

  hi2c1.Instance = I2C1;
  hi2c1.Init.Timing = 0x10805D88;
  hi2c1.Init.OwnAddress1 = 0;
  hi2c1.Init.AddressingMode = I2C_ADDRESSINGMODE_7BIT;
  hi2c1.Init.DualAddressMode = I2C_DUALADDRESS_DISABLE;
  hi2c1.Init.OwnAddress2 = 0;
  hi2c1.Init.OwnAddress2Masks = I2C_OA2_NOMASK;
  hi2c1.Init.GeneralCallMode = I2C_GENERALCALL_DISABLE;
  hi2c1.Init.NoStretchMode = I2C_NOSTRETCH_DISABLE;
  if (HAL_I2C_Init(&hi2c1) != HAL_OK)
  {
    Error_Handler();
  }

  /** Configure Analogue filter
   */
  if (HAL_I2CEx_ConfigAnalogFilter(&hi2c1, I2C_ANALOGFILTER_ENABLE) != HAL_OK)
  {
    Error_Handler();
  }

  /** Configure Digital filter
   */
  if (HAL_I2CEx_ConfigDigitalFilter(&hi2c1, 0) != HAL_OK)
  {
    Error_Handler();
  }
}

static void MX_I2C2_Init(void)
{

  hi2c2.Instance = I2C2;
  hi2c2.Init.Timing = 0x10805D88;
  hi2c2.Init.OwnAddress1 = 0;
  hi2c2.Init.AddressingMode = I2C_ADDRESSINGMODE_7BIT;
  hi2c2.Init.DualAddressMode = I2C_DUALADDRESS_DISABLE;
  hi2c2.Init.OwnAddress2 = 0;
  hi2c2.Init.OwnAddress2Masks = I2C_OA2_NOMASK;
  hi2c2.Init.GeneralCallMode = I2C_GENERALCALL_DISABLE;
  hi2c2.Init.NoStretchMode = I2C_NOSTRETCH_DISABLE;
  if (HAL_I2C_Init(&hi2c2) != HAL_OK)
  {
    Error_Handler();
  }

  /** Configure Analogue filter
   */
  if (HAL_I2CEx_ConfigAnalogFilter(&hi2c2, I2C_ANALOGFILTER_ENABLE) != HAL_OK)
  {
    Error_Handler();
  }

  /** Configure Digital filter
   */
  if (HAL_I2CEx_ConfigDigitalFilter(&hi2c2, 0) != HAL_OK)
  {
    Error_Handler();
  }
}

static void MX_IWDG_Init(void)
{

  hiwdg.Instance = IWDG;
  hiwdg.Init.Prescaler = IWDG_PRESCALER_32;
  hiwdg.Init.Window = 4095;
  hiwdg.Init.Reload = 4095;
  if (HAL_IWDG_Init(&hiwdg) != HAL_OK)
  {
    Error_Handler();
  }
}

static void MX_LPTIM1_Init(void)
{

  hlptim1.Instance = LPTIM1;
  hlptim1.Init.Clock.Source = LPTIM_CLOCKSOURCE_APBCLOCK_LPOSC;
  hlptim1.Init.Clock.Prescaler = LPTIM_PRESCALER_DIV16;
  hlptim1.Init.Trigger.Source = LPTIM_TRIGSOURCE_SOFTWARE;
  hlptim1.Init.OutputPolarity = LPTIM_OUTPUTPOLARITY_HIGH;
  hlptim1.Init.UpdateMode = LPTIM_UPDATE_IMMEDIATE;
  hlptim1.Init.CounterSource = LPTIM_COUNTERSOURCE_INTERNAL;
  hlptim1.Init.Input1Source = LPTIM_INPUT1SOURCE_GPIO;
  hlptim1.Init.Input2Source = LPTIM_INPUT2SOURCE_GPIO;
  if (HAL_LPTIM_Init(&hlptim1) != HAL_OK)
  {
    Error_Handler();
  }
}

static void MX_LPTIM2_Init(void)
{

  hlptim2.Instance = LPTIM2;
  hlptim2.Init.Clock.Source = LPTIM_CLOCKSOURCE_APBCLOCK_LPOSC;
  hlptim2.Init.Clock.Prescaler = LPTIM_PRESCALER_DIV1;
  hlptim2.Init.Trigger.Source = LPTIM_TRIGSOURCE_SOFTWARE;
  hlptim2.Init.OutputPolarity = LPTIM_OUTPUTPOLARITY_HIGH;
  hlptim2.Init.UpdateMode = LPTIM_UPDATE_IMMEDIATE;
  hlptim2.Init.CounterSource = LPTIM_COUNTERSOURCE_INTERNAL;
  hlptim2.Init.Input1Source = LPTIM_INPUT1SOURCE_GPIO;
  hlptim2.Init.Input2Source = LPTIM_INPUT2SOURCE_GPIO;
  if (HAL_LPTIM_Init(&hlptim2) != HAL_OK)
  {
    Error_Handler();
  }
}

static void MX_RTC_Init(void)
{

  /** Initialize RTC Only
   */
  hrtc.Instance = RTC;
  hrtc.Init.HourFormat = RTC_HOURFORMAT_24;
  hrtc.Init.AsynchPrediv = 127;
  hrtc.Init.SynchPrediv = 255;
  hrtc.Init.OutPut = RTC_OUTPUT_DISABLE;
  hrtc.Init.OutPutRemap = RTC_OUTPUT_REMAP_NONE;
  hrtc.Init.OutPutPolarity = RTC_OUTPUT_POLARITY_HIGH;
  hrtc.Init.OutPutType = RTC_OUTPUT_TYPE_OPENDRAIN;
  if (HAL_RTC_Init(&hrtc) != HAL_OK)
  {
    Error_Handler();
  }
}

static void MX_SPI1_Init(void)
{

  /* SPI1 parameter configuration*/
  hspi1.Instance = SPI1;
  hspi1.Init.Mode = SPI_MODE_MASTER;
  hspi1.Init.Direction = SPI_DIRECTION_2LINES;
  hspi1.Init.DataSize = SPI_DATASIZE_8BIT;
  hspi1.Init.CLKPolarity = SPI_POLARITY_LOW;
  hspi1.Init.CLKPhase = SPI_PHASE_1EDGE;
  hspi1.Init.NSS = SPI_NSS_SOFT;
  hspi1.Init.BaudRatePrescaler = SPI_BAUDRATEPRESCALER_64;
  hspi1.Init.FirstBit = SPI_FIRSTBIT_MSB;
  hspi1.Init.TIMode = SPI_TIMODE_DISABLE;
  hspi1.Init.CRCCalculation = SPI_CRCCALCULATION_DISABLE;
  hspi1.Init.CRCPolynomial = 7;
  hspi1.Init.CRCLength = SPI_CRC_LENGTH_DATASIZE;
  hspi1.Init.NSSPMode = SPI_NSS_PULSE_ENABLE;
  if (HAL_SPI_Init(&hspi1) != HAL_OK)
  {
    Error_Handler();
  }
}

static void MX_TIM1_Init(void)
{

  TIM_ClockConfigTypeDef sClockSourceConfig = {0};
  TIM_MasterConfigTypeDef sMasterConfig = {0};

  htim1.Instance = TIM1;
  htim1.Init.Prescaler = 48 - 1;
  htim1.Init.CounterMode = TIM_COUNTERMODE_UP;
  htim1.Init.Period = 1000 - 1;
  htim1.Init.ClockDivision = TIM_CLOCKDIVISION_DIV1;
  htim1.Init.RepetitionCounter = 0;
  htim1.Init.AutoReloadPreload = TIM_AUTORELOAD_PRELOAD_ENABLE;
  if (HAL_TIM_Base_Init(&htim1) != HAL_OK)
  {
    Error_Handler();
  }
  sClockSourceConfig.ClockSource = TIM_CLOCKSOURCE_INTERNAL;
  if (HAL_TIM_ConfigClockSource(&htim1, &sClockSourceConfig) != HAL_OK)
  {
    Error_Handler();
  }
  sMasterConfig.MasterOutputTrigger = TIM_TRGO_UPDATE;
  sMasterConfig.MasterOutputTrigger2 = TIM_TRGO2_UPDATE;
  sMasterConfig.MasterSlaveMode = TIM_MASTERSLAVEMODE_ENABLE;
  if (HAL_TIMEx_MasterConfigSynchronization(&htim1, &sMasterConfig) != HAL_OK)
  {
    Error_Handler();
  }
}

static void MX_TIM2_Init(void)
{

  TIM_ClockConfigTypeDef sClockSourceConfig = {0};
  TIM_MasterConfigTypeDef sMasterConfig = {0};

  htim2.Instance = TIM2;
  htim2.Init.Prescaler = 48 - 1;
  htim2.Init.CounterMode = TIM_COUNTERMODE_UP;
  htim2.Init.Period = 1000 - 1;
  htim2.Init.ClockDivision = TIM_CLOCKDIVISION_DIV1;
  htim2.Init.AutoReloadPreload = TIM_AUTORELOAD_PRELOAD_DISABLE;
  if (HAL_TIM_Base_Init(&htim2) != HAL_OK)
  {
    Error_Handler();
  }
  sClockSourceConfig.ClockSource = TIM_CLOCKSOURCE_INTERNAL;
  if (HAL_TIM_ConfigClockSource(&htim2, &sClockSourceConfig) != HAL_OK)
  {
    Error_Handler();
  }
  sMasterConfig.MasterOutputTrigger = TIM_TRGO_RESET;
  sMasterConfig.MasterSlaveMode = TIM_MASTERSLAVEMODE_DISABLE;
  if (HAL_TIMEx_MasterConfigSynchronization(&htim2, &sMasterConfig) != HAL_OK)
  {
    Error_Handler();
  }
}

static void MX_TIM7_Init(void)
{

  TIM_MasterConfigTypeDef sMasterConfig = {0};

  htim7.Instance = TIM7;
  htim7.Init.Prescaler = 4800 - 1;
  htim7.Init.CounterMode = TIM_COUNTERMODE_UP;
  htim7.Init.Period = 1000 - 1;
  htim7.Init.AutoReloadPreload = TIM_AUTORELOAD_PRELOAD_DISABLE;
  if (HAL_TIM_Base_Init(&htim7) != HAL_OK)
  {
    Error_Handler();
  }
  sMasterConfig.MasterOutputTrigger = TIM_TRGO_RESET;
  sMasterConfig.MasterSlaveMode = TIM_MASTERSLAVEMODE_DISABLE;
  if (HAL_TIMEx_MasterConfigSynchronization(&htim7, &sMasterConfig) != HAL_OK)
  {
    Error_Handler();
  }
}

static void MX_TIM15_Init(void)
{

  TIM_ClockConfigTypeDef sClockSourceConfig = {0};
  TIM_SlaveConfigTypeDef sSlaveConfig = {0};
  TIM_MasterConfigTypeDef sMasterConfig = {0};
  TIM_OC_InitTypeDef sConfigOC = {0};
  TIM_BreakDeadTimeConfigTypeDef sBreakDeadTimeConfig = {0};

  htim15.Instance = TIM15;
  htim15.Init.Prescaler = 48 - 1;
  htim15.Init.CounterMode = TIM_COUNTERMODE_UP;
  htim15.Init.Period = 1000 - 1;
  htim15.Init.ClockDivision = TIM_CLOCKDIVISION_DIV1;
  htim15.Init.RepetitionCounter = 0;
  htim15.Init.AutoReloadPreload = TIM_AUTORELOAD_PRELOAD_DISABLE;
  if (HAL_TIM_Base_Init(&htim15) != HAL_OK)
  {
    Error_Handler();
  }
  sClockSourceConfig.ClockSource = TIM_CLOCKSOURCE_INTERNAL;
  if (HAL_TIM_ConfigClockSource(&htim15, &sClockSourceConfig) != HAL_OK)
  {
    Error_Handler();
  }
  if (HAL_TIM_PWM_Init(&htim15) != HAL_OK)
  {
    Error_Handler();
  }
  if (HAL_TIM_OnePulse_Init(&htim15, TIM_OPMODE_SINGLE) != HAL_OK)
  {
    Error_Handler();
  }
  sSlaveConfig.SlaveMode = TIM_SLAVEMODE_TRIGGER;
  sSlaveConfig.InputTrigger = TIM_TS_ITR0;
  if (HAL_TIM_SlaveConfigSynchro(&htim15, &sSlaveConfig) != HAL_OK)
  {
    Error_Handler();
  }
  sMasterConfig.MasterOutputTrigger = TIM_TRGO_RESET;
  sMasterConfig.MasterSlaveMode = TIM_MASTERSLAVEMODE_DISABLE;
  if (HAL_TIMEx_MasterConfigSynchronization(&htim15, &sMasterConfig) != HAL_OK)
  {
    Error_Handler();
  }
  sConfigOC.OCMode = TIM_OCMODE_PWM1;
  sConfigOC.Pulse = 1000;
  sConfigOC.OCPolarity = TIM_OCPOLARITY_LOW;
  sConfigOC.OCNPolarity = TIM_OCNPOLARITY_HIGH;
  sConfigOC.OCFastMode = TIM_OCFAST_DISABLE;
  sConfigOC.OCIdleState = TIM_OCIDLESTATE_RESET;
  sConfigOC.OCNIdleState = TIM_OCNIDLESTATE_RESET;
  if (HAL_TIM_PWM_ConfigChannel(&htim15, &sConfigOC, TIM_CHANNEL_2) != HAL_OK)
  {
    Error_Handler();
  }
  sBreakDeadTimeConfig.OffStateRunMode = TIM_OSSR_DISABLE;
  sBreakDeadTimeConfig.OffStateIDLEMode = TIM_OSSI_DISABLE;
  sBreakDeadTimeConfig.LockLevel = TIM_LOCKLEVEL_OFF;
  sBreakDeadTimeConfig.DeadTime = 0;
  sBreakDeadTimeConfig.BreakState = TIM_BREAK_DISABLE;
  sBreakDeadTimeConfig.BreakPolarity = TIM_BREAKPOLARITY_HIGH;
  sBreakDeadTimeConfig.AutomaticOutput = TIM_AUTOMATICOUTPUT_DISABLE;
  if (HAL_TIMEx_ConfigBreakDeadTime(&htim15, &sBreakDeadTimeConfig) != HAL_OK)
  {
    Error_Handler();
  }
  HAL_TIM_MspPostInit(&htim15);
}

static void MX_TIM16_Init(void)
{

  htim16.Instance = TIM16;
  htim16.Init.Prescaler = 4800 - 1;
  htim16.Init.CounterMode = TIM_COUNTERMODE_UP;
  htim16.Init.Period = 5000 - 1;
  htim16.Init.ClockDivision = TIM_CLOCKDIVISION_DIV1;
  htim16.Init.RepetitionCounter = 0;
  htim16.Init.AutoReloadPreload = TIM_AUTORELOAD_PRELOAD_DISABLE;
  if (HAL_TIM_Base_Init(&htim16) != HAL_OK)
  {
    Error_Handler();
  }
}

static void MX_USART1_UART_Init(void)
{

  huart1.Instance = USART1;
  huart1.Init.BaudRate = 115200;
  huart1.Init.WordLength = UART_WORDLENGTH_8B;
  huart1.Init.StopBits = UART_STOPBITS_1;
  huart1.Init.Parity = UART_PARITY_NONE;
  huart1.Init.Mode = UART_MODE_TX_RX;
  huart1.Init.HwFlowCtl = UART_HWCONTROL_NONE;
  huart1.Init.OverSampling = UART_OVERSAMPLING_16;
  huart1.Init.OneBitSampling = UART_ONE_BIT_SAMPLE_DISABLE;
  huart1.AdvancedInit.AdvFeatureInit = UART_ADVFEATURE_NO_INIT;
  if (HAL_UART_Init(&huart1) != HAL_OK)
  {
    Error_Handler();
  }
}

static void MX_USART2_UART_Init(void)
{

  huart2.Instance = USART2;
  huart2.Init.BaudRate = 115200;
  huart2.Init.WordLength = UART_WORDLENGTH_8B;
  huart2.Init.StopBits = UART_STOPBITS_1;
  huart2.Init.Parity = UART_PARITY_NONE;
  huart2.Init.Mode = UART_MODE_TX_RX;
  huart2.Init.HwFlowCtl = UART_HWCONTROL_NONE;
  huart2.Init.OverSampling = UART_OVERSAMPLING_16;
  huart2.Init.OneBitSampling = UART_ONE_BIT_SAMPLE_DISABLE;
  huart2.AdvancedInit.AdvFeatureInit = UART_ADVFEATURE_NO_INIT;
  if (HAL_HalfDuplex_Init(&huart2) != HAL_OK)
  {
    Error_Handler();
  }
}

static void MX_USART3_UART_Init(void)
{

  huart3.Instance = USART3;
  huart3.Init.BaudRate = 115200;
  huart3.Init.WordLength = UART_WORDLENGTH_8B;
  huart3.Init.StopBits = UART_STOPBITS_1;
  huart3.Init.Parity = UART_PARITY_NONE;
  huart3.Init.Mode = UART_MODE_TX_RX;
  huart3.Init.HwFlowCtl = UART_HWCONTROL_NONE;
  huart3.Init.OverSampling = UART_OVERSAMPLING_16;
  huart3.Init.OneBitSampling = UART_ONE_BIT_SAMPLE_DISABLE;
  huart3.AdvancedInit.AdvFeatureInit = UART_ADVFEATURE_NO_INIT;
  if (HAL_HalfDuplex_Init(&huart3) != HAL_OK)
  {
    Error_Handler();
  }
}

static void MX_DMA_Init(void)
{

  /* DMA controller clock enable */
  __HAL_RCC_DMA1_CLK_ENABLE();

  /* DMA interrupt init */
  /* DMA1_Channel2_IRQn interrupt configuration */
  HAL_NVIC_SetPriority(DMA1_Channel2_IRQn, 0, 0);
  HAL_NVIC_EnableIRQ(DMA1_Channel2_IRQn);
  /* DMA1_Channel3_IRQn interrupt configuration */
  HAL_NVIC_SetPriority(DMA1_Channel3_IRQn, 0, 0);
  HAL_NVIC_EnableIRQ(DMA1_Channel3_IRQn);
  /* DMA1_Channel4_IRQn interrupt configuration */
  HAL_NVIC_SetPriority(DMA1_Channel4_IRQn, 0, 0);
  HAL_NVIC_EnableIRQ(DMA1_Channel4_IRQn);
  /* DMA1_Channel5_IRQn interrupt configuration */
  HAL_NVIC_SetPriority(DMA1_Channel5_IRQn, 0, 0);
  HAL_NVIC_EnableIRQ(DMA1_Channel5_IRQn);
  /* DMA1_Channel6_IRQn interrupt configuration */
  HAL_NVIC_SetPriority(DMA1_Channel6_IRQn, 0, 0);
  HAL_NVIC_EnableIRQ(DMA1_Channel6_IRQn);
  /* DMA1_Channel7_IRQn interrupt configuration */
  HAL_NVIC_SetPriority(DMA1_Channel7_IRQn, 0, 0);
  HAL_NVIC_EnableIRQ(DMA1_Channel7_IRQn);
}

static void MX_GPIO_Init(void)
{
  GPIO_InitTypeDef GPIO_InitStruct = {0};

  /* GPIO Ports Clock Enable */
  __HAL_RCC_GPIOC_CLK_ENABLE();
  __HAL_RCC_GPIOB_CLK_ENABLE();
  __HAL_RCC_GPIOA_CLK_ENABLE();
  __HAL_RCC_GPIOD_CLK_ENABLE();
  __HAL_RCC_GPIOH_CLK_ENABLE();

  /*Configure GPIO pin Output Level */
  HAL_GPIO_WritePin(GPIOB, TR1_EN_Pin | REFSEL_Pin | TR3_EN_Pin | HW_SW_CTRL_Pin | TR2_EN_Pin | TR7_EN_Pin | TR6_EN_Pin, GPIO_PIN_RESET);

  /*Configure GPIO pin Output Level */
  HAL_GPIO_WritePin(GPIOA, TX1_CS_Pin | TX2_CS_Pin | TR8_EN_Pin | TX_STDBY_Pin, GPIO_PIN_RESET);

  /*Configure GPIO pin Output Level */
  HAL_GPIO_WritePin(GPIOC, TR4_EN_Pin | LD_HB_Pin | TX_RESET_L_Pin | TX_CW_EN_Pin | TR5_EN_Pin | RDY_Pin, GPIO_PIN_RESET);

  /*Configure GPIO pin Output Level */
  HAL_GPIO_WritePin(SYSTEM_RDY_GPIO_Port, SYSTEM_RDY_Pin, GPIO_PIN_RESET);

  /*Configure GPIO pin : INT_Pin */
  GPIO_InitStruct.Pin = INT_Pin;
  GPIO_InitStruct.Mode = GPIO_MODE_IT_RISING;
  GPIO_InitStruct.Pull = GPIO_NOPULL;
  HAL_GPIO_Init(INT_GPIO_Port, &GPIO_InitStruct);

  /*Configure GPIO pins : GPIO_1_Pin TX1_SHUTZ_Pin RX_I2C_SDA_Pin PC1
                           RX_I2C_SCL_Pin RX_RDY_Pin PC3 */
  GPIO_InitStruct.Pin = GPIO_1_Pin | TX1_SHUTZ_Pin | RX_I2C_SDA_Pin | GPIO_PIN_1 | RX_I2C_SCL_Pin | RX_RDY_Pin | GPIO_PIN_3;
  GPIO_InitStruct.Mode = GPIO_MODE_INPUT;
  GPIO_InitStruct.Pull = GPIO_NOPULL;
  HAL_GPIO_Init(GPIOC, &GPIO_InitStruct);

  /*Configure GPIO pins : TR1_EN_Pin REFSEL_Pin TR3_EN_Pin HW_SW_CTRL_Pin
                           TR2_EN_Pin TR7_EN_Pin TR6_EN_Pin */
  GPIO_InitStruct.Pin = TR1_EN_Pin | REFSEL_Pin | TR3_EN_Pin | HW_SW_CTRL_Pin | TR2_EN_Pin | TR7_EN_Pin | TR6_EN_Pin;
  GPIO_InitStruct.Mode = GPIO_MODE_OUTPUT_PP;
  GPIO_InitStruct.Pull = GPIO_NOPULL;
  GPIO_InitStruct.Speed = GPIO_SPEED_FREQ_LOW;
  HAL_GPIO_Init(GPIOB, &GPIO_InitStruct);

  /*Configure GPIO pins : PDN_Pin EXT_Pin */
  GPIO_InitStruct.Pin = PDN_Pin | EXT_Pin;
  GPIO_InitStruct.Mode = GPIO_MODE_IT_RISING;
  GPIO_InitStruct.Pull = GPIO_NOPULL;
  HAL_GPIO_Init(GPIOB, &GPIO_InitStruct);

  /*Configure GPIO pins : TX1_CS_Pin TX2_CS_Pin TR8_EN_Pin TX_STDBY_Pin */
  GPIO_InitStruct.Pin = TX1_CS_Pin | TX2_CS_Pin | TR8_EN_Pin | TX_STDBY_Pin;
  GPIO_InitStruct.Mode = GPIO_MODE_OUTPUT_PP;
  GPIO_InitStruct.Pull = GPIO_NOPULL;
  GPIO_InitStruct.Speed = GPIO_SPEED_FREQ_LOW;
  HAL_GPIO_Init(GPIOA, &GPIO_InitStruct);

  /*Configure GPIO pins : TR4_EN_Pin LD_HB_Pin TX_RESET_L_Pin TX_CW_EN_Pin
                           TR5_EN_Pin RDY_Pin */
  GPIO_InitStruct.Pin = TR4_EN_Pin | LD_HB_Pin | TX_RESET_L_Pin | TX_CW_EN_Pin | TR5_EN_Pin | RDY_Pin;
  GPIO_InitStruct.Mode = GPIO_MODE_OUTPUT_PP;
  GPIO_InitStruct.Pull = GPIO_NOPULL;
  GPIO_InitStruct.Speed = GPIO_SPEED_FREQ_LOW;
  HAL_GPIO_Init(GPIOC, &GPIO_InitStruct);

  /*Configure GPIO pin : SYSTEM_RDY_Pin */
  GPIO_InitStruct.Pin = SYSTEM_RDY_Pin;
  GPIO_InitStruct.Mode = GPIO_MODE_OUTPUT_PP;
  GPIO_InitStruct.Pull = GPIO_NOPULL;
  GPIO_InitStruct.Speed = GPIO_SPEED_FREQ_LOW;
  HAL_GPIO_Init(SYSTEM_RDY_GPIO_Port, &GPIO_InitStruct);

  /*Configure GPIO pin : REF_CLK_Pin */
  GPIO_InitStruct.Pin = REF_CLK_Pin;
  GPIO_InitStruct.Mode = GPIO_MODE_AF_PP;
  GPIO_InitStruct.Pull = GPIO_NOPULL;
  GPIO_InitStruct.Speed = GPIO_SPEED_FREQ_VERY_HIGH;
  GPIO_InitStruct.Alternate = GPIO_AF0_MCO;
  HAL_GPIO_Init(REF_CLK_GPIO_Port, &GPIO_InitStruct);

  /*Configure GPIO pins : TX2_SHUTZ_Pin POWER_GOOD_Pin */
  GPIO_InitStruct.Pin = TX2_SHUTZ_Pin | POWER_GOOD_Pin;
  GPIO_InitStruct.Mode = GPIO_MODE_INPUT;
  GPIO_InitStruct.Pull = GPIO_NOPULL;
  HAL_GPIO_Init(GPIOB, &GPIO_InitStruct);

  /*Configure GPIO pin : RST_Pin */
  GPIO_InitStruct.Pin = RST_Pin;
  GPIO_InitStruct.Mode = GPIO_MODE_IT_RISING;
  GPIO_InitStruct.Pull = GPIO_NOPULL;
  HAL_GPIO_Init(RST_GPIO_Port, &GPIO_InitStruct);

}

/* USER CODE BEGIN 4 */

void HAL_UARTEx_RxEventCallback(UART_HandleTypeDef *huart, uint16_t Size)
{

  if (huart->Instance == CALL_IN_UART.Instance)
  {
    comms_handle_ow_CallIn_RxEventCallback(huart, Size);
  }
  else if (huart->Instance == CALL_OUT_UART.Instance)
  {
    comms_handle_ow_CallOut_RxEventCallback(huart, Size);
  }
}

void HAL_UART_RxCpltCallback(UART_HandleTypeDef *huart)
{
}

void HAL_UART_TxCpltCallback(UART_HandleTypeDef *huart)
{
#ifdef DEBUG_ENABLED
  if (huart->Instance == DEBUG_UART.Instance)
  {
    logging_UART_TxCpltCallback(huart);
    return;
  }
#endif
  if (huart->Instance == CALL_OUT_UART.Instance)
  {
    comms_handle_ow_CallOut_TxCpltCallback(huart);
  }
  else if (huart->Instance == CALL_IN_UART.Instance)
  {
    comms_handle_ow_CallIn_TxCpltCallback(huart);
  }
}

void delay_ms(uint32_t ms)
{
  FW_DEBUG("Clock: %ld\r\n", SystemCoreClock);
  uint32_t delay_cycles = (SystemCoreClock / 1000) * ms;
  while (delay_cycles--)
  {
    __NOP(); // Ensures the loop doesn't get optimized away
  }
}

void HAL_LPTIM_AutoReloadMatchCallback(LPTIM_HandleTypeDef *hlptim)
{

  if (hlptim->Instance == RESET_TIMER.Instance)
  {
    // Stop the timer to prevent re-triggering
    HAL_LPTIM_Counter_Stop_IT(hlptim);

    delay_ms(100);

    if (_enter_dfu)
    {
      if (is_custom_bootloader_present() && _force_stm32_dfu == false)
      {
        /* Custom bootloader present — request DFU via backup register and reset */
        bl_bkp_enable();
        RTC->BKP0R = BL_BKP_SIGNATURE;
        RTC->BKP1R = BL_BKP_REQ_DFU_MAGIC;
      }
      else
      {
        // jump to bootloader DFU
        // 16k SRAM in address 0x2000 0000 - 0x2000 3FFF
        *((unsigned long *)0x20003FF0) = 0xDEADBEEF;
      }

    }

    MX_USB_DEVICE_DeInit();
    __DSB();
    __ISB();
    delay_ms(200);
    NVIC_SystemReset();
  }
}

/* USER CODE END 4 */

void HAL_TIM_PeriodElapsedCallback(TIM_HandleTypeDef *htim)
{
  /* USER CODE BEGIN Callback 0 */
  if (htim->Instance == TIM16)
  {
    (void)HAL_IWDG_Refresh(&hiwdg);
  }

  if (htim->Instance == CDC_TIMER.Instance)
  {
    CDC_Idle_Timer_Handler();
  }

  if (htim->Instance == TIM1)
  {
    TRIG_TIM1_IRQHandler();
  }

  if (htim->Instance == TIM2)
  {
    TRIG_TIM2_IRQHandler();
  }

  /* USER CODE END Callback 0 */
  if (htim->Instance == TIM6)
  {
    HAL_IncTick();
  }
}

void Error_Handler(void)
{
  /* USER CODE BEGIN Error_Handler_Debug */
  /* User can add his own implementation to report the HAL error return state */
  HAL_GPIO_WritePin(SYSTEM_RDY_GPIO_Port, SYSTEM_RDY_Pin, GPIO_PIN_SET);
  __disable_irq();
  while (1)
  {
  }
  /* USER CODE END Error_Handler_Debug */
}
